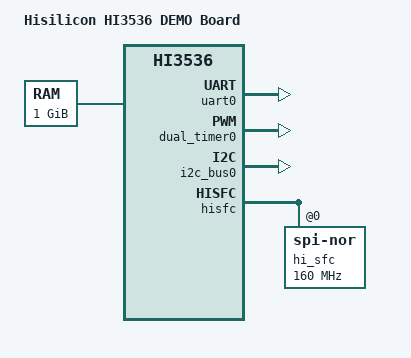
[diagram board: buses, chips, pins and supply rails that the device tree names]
/*
 * Hi3536 DEMO board DTS (Phase 4.5 backport).
 */

/dts-v1/;
#include "hi3536.dtsi"

/ {
	model = "Hisilicon HI3536 DEMO Board";
	compatible = "hisilicon,hi3536";

	chosen {
		bootargs = "console=ttyAMA0,115200 rdinit=/sbin/init";
	};

	memory {
		device_type = "memory";
		reg = <0x40000000 0x40000000>;     /* 1 GiB at 0x40000000 */
	};
};

&uart0 {
	status = "okay";
};

&dual_timer0 {
	status = "okay";
};

&i2c_bus0 {
	status = "okay";
};

&hisfc {
	hi_sfc {
		compatible = "jedec,spi-nor";
		reg = <0>;
		spi-max-frequency = <160000000>;
	};
};
